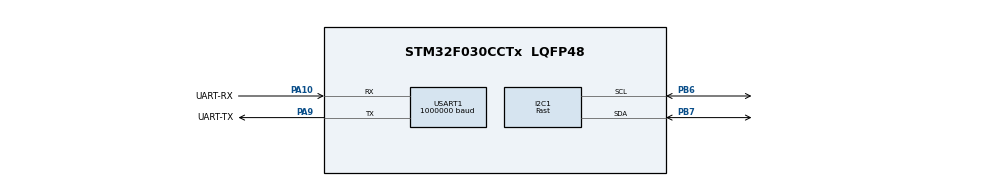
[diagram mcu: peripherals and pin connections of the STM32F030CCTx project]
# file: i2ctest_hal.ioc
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I2C1.I2C_Speed_Mode=I2C_Fast
I2C1.Timing=0x0000020B
Mcu.Family=STM32F0
Mcu.Name=STM32F030CCTx
Mcu.Package=LQFP48
PA10.GPIO_Label=UART-RX
PA10.Mode=Asynchronous
PA10.Signal=USART1_RX
PA9.GPIO_Label=UART-TX
PA9.Mode=Asynchronous
PA9.Signal=USART1_TX
PB6.GPIO_Pu=GPIO_PULLUP
PB6.GPIO_Speed=GPIO_SPEED_FREQ_LOW
PB6.Mode=I2C
PB6.Signal=I2C1_SCL
PB7.GPIO_Pu=GPIO_PULLUP
PB7.GPIO_Speed=GPIO_SPEED_FREQ_LOW
PB7.Mode=I2C
PB7.Signal=I2C1_SDA
ProjectManager.HeapSize=0x200
ProjectManager.StackSize=0x400
ProjectManager.TargetToolchain=MDK-ARM V5.32
RCC.AHBFreq_Value=48000000
RCC.APB1Freq_Value=48000000
RCC.APB1TimFreq_Value=48000000
RCC.HCLKFreq_Value=48000000
RCC.PLLMUL=RCC_PLL_MUL6
RCC.SYSCLKFreq_VALUE=48000000
RCC.SYSCLKSource=RCC_SYSCLKSOURCE_PLLCLK
USART1.BaudRate=1000000
USART1.VirtualMode-Asynchronous=VM_ASYNC
board=custom

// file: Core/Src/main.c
/* USER CODE BEGIN Header */
/**
  ******************************************************************************
  * @file           : main.c
  * @brief          : Main program body
  ******************************************************************************
  * @attention
  *
  * Copyright (c) 2024 STMicroelectronics.
  * All rights reserved.
  *
  * This software is licensed under terms that can be found in the LICENSE file
  * in the root directory of this software component.
  * If no LICENSE file comes with this software, it is provided AS-IS.
  *
  ******************************************************************************
  */
/* USER CODE END Header */
#include "main.h"
#include "i2c.h"
#include "usart.h"
#include "gpio.h"

void SystemClock_Config(void);

/* USER CODE BEGIN 0 */

void delay_nop(uint32_t nCount)
{
   for(; nCount != 0; nCount--)
   {
      __NOP();
   }
}

void Send_Data_To_UART1 (uint8_t c)
{
   USART1->TDR = c;
   while( (USART1-> ISR & (1<<7) ) ==0 );
}

void iputs1(char *msg)
{
   while(*msg)
   Send_Data_To_UART1(*msg++);
}

void iputbytes1(uint8_t *msg, uint32_t ilen)
{
   while(ilen--)
   Send_Data_To_UART1(*msg++);
}

uint8_t i2c_writereg(uint16_t idevaddr, uint8_t ireg,uint8_t data)
{
   if((HAL_I2C_Mem_Write(&hi2c1,idevaddr,ireg,I2C_MEMADD_SIZE_8BIT,&data,1,1000)) == HAL_OK)
   {
      return 0;
   }
   else
   {
      return 1;
   }
}

uint8_t i2c_readreg(uint16_t idevaddr,uint8_t ireg)
{
   uint8_t res;
   HAL_I2C_Mem_Read(&hi2c1,idevaddr,ireg,I2C_MEMADD_SIZE_8BIT,&res,1,1000);
   return res;
}

uint8_t i2c_writebytes(uint16_t idevaddr, uint8_t ireg, uint8_t *sbuf,uint16_t ilen)
{
   if((HAL_I2C_Mem_Write(&hi2c1,idevaddr,ireg,I2C_MEMADD_SIZE_8BIT,sbuf,ilen,1000)) == HAL_OK)
   {
      return 0;
   }
   else
   {
      return 1;
   }
}

uint8_t i2c_readbytes(uint16_t idevaddr,uint8_t ireg,uint8_t *sbuf,uint16_t ilen)
{
   if((HAL_I2C_Mem_Read(&hi2c1,idevaddr,ireg,I2C_MEMADD_SIZE_8BIT,sbuf,ilen,1000)) == HAL_OK)
   {
      return 0;
   }
   else
   {
      return 1;
   }
}

/* USER CODE END 0 */

int main(void)
{

  /* MCU Configuration--------------------------------------------------------*/

  /* Reset of all peripherals, Initializes the Flash interface and the Systick. */
  HAL_Init();

  /* Configure the system clock */
  SystemClock_Config();

  /* Initialize all configured peripherals */
  MX_GPIO_Init();
  MX_I2C1_Init();
  MX_USART1_UART_Init();
  /* USER CODE BEGIN 2 */

   LL_mDelay(10);  //20
   iputs1( "start..." );     //start

  /* USER CODE END 2 */

  /* Infinite loop */
  /* USER CODE BEGIN WHILE */
  while (1)
  {
   LL_mDelay(1000);

//-------------test 24c02 onebyte----------------------

//uartsendcmd((uint8_t*)"run\r\n",5);

   uint8_t itemp=0;
   uint32_t idelay=50000;

   i2c_writereg( 0xA0,0x03,6);
   delay_nop(idelay);
   itemp=i2c_readreg( 0xA0,0x03);

   iputbytes1( (uint8_t*)&itemp,1);

   i2c_writereg( 0xA0,0x03,8);
   delay_nop(idelay);
   itemp=i2c_readreg( 0xA0,0x03);
   iputbytes1( (uint8_t*)&itemp,1);

//-------------test 24c02 onebyte----end------------------

    /* USER CODE END WHILE */

  }
}

void SystemClock_Config(void)
{
  LL_FLASH_SetLatency(LL_FLASH_LATENCY_1);
  while(LL_FLASH_GetLatency() != LL_FLASH_LATENCY_1)
  {
  }
  LL_RCC_HSI_Enable();

   /* Wait till HSI is ready */
  while(LL_RCC_HSI_IsReady() != 1)
  {

  }
  LL_RCC_HSI_SetCalibTrimming(16);
  LL_RCC_PLL_ConfigDomain_SYS(LL_RCC_PLLSOURCE_HSI, LL_RCC_PLL_MUL_6, LL_RCC_PREDIV_DIV_1);
  LL_RCC_PLL_Enable();

   /* Wait till PLL is ready */
  while(LL_RCC_PLL_IsReady() != 1)
  {

  }
  LL_RCC_SetAHBPrescaler(LL_RCC_SYSCLK_DIV_1);
  LL_RCC_SetAPB1Prescaler(LL_RCC_APB1_DIV_1);
  LL_RCC_SetSysClkSource(LL_RCC_SYS_CLKSOURCE_PLL);

   /* Wait till System clock is ready */
  while(LL_RCC_GetSysClkSource() != LL_RCC_SYS_CLKSOURCE_STATUS_PLL)
  {

  }
  LL_SetSystemCoreClock(48000000);

   /* Update the time base */
  if (HAL_InitTick (TICK_INT_PRIORITY) != HAL_OK)
  {
    Error_Handler();
  }
  LL_RCC_SetUSARTClockSource(LL_RCC_USART1_CLKSOURCE_PCLK1);
  LL_RCC_SetI2CClockSource(LL_RCC_I2C1_CLKSOURCE_HSI);
}

void Error_Handler(void)
{
  __disable_irq();
  while (1)
  {
  }
}
